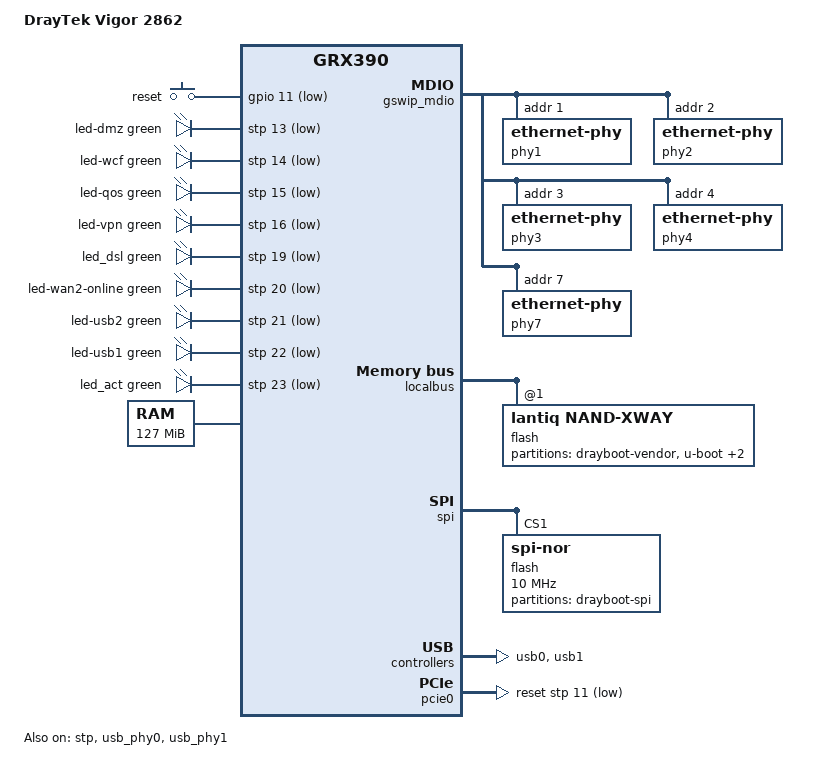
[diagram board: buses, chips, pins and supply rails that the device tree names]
// SPDX-License-Identifier: GPL-2.0-or-later OR MIT

#include "xrx330.dtsi"

#include <dt-bindings/input/input.h>
#include <dt-bindings/leds/common.h>

/ {
	compatible = "draytek,vigor2862", "lantiq,xway", "lantiq,grx390";
	model = "DrayTek Vigor 2862";

	chosen {
		bootargs = "console=ttyLTQ0,115200";
	};

	aliases {
		led-boot = &led_act;
		led-failsafe = &led_act;
		led-running = &led_act;
		led-upgrade = &led_act;
		led-dsl = &led_dsl;
	};

	keys {
		compatible = "gpio-keys-polled";
		poll-interval = <100>;

		reset {
			label = "reset";
			gpios = <&gpio 11 GPIO_ACTIVE_LOW>;
			linux,code = <KEY_RESTART>;
			debounce-interval = <60>;
		};
	};

	/* panel LEDs on the STP, active low */
	leds {
		compatible = "gpio-leds";

		led-dmz {
			function = "dmz";
			color = <LED_COLOR_ID_GREEN>;
			gpios = <&stp 13 GPIO_ACTIVE_LOW>;
		};

		led-wcf {
			function = "wcf";
			color = <LED_COLOR_ID_GREEN>;
			gpios = <&stp 14 GPIO_ACTIVE_LOW>;
		};

		led-qos {
			function = "qos";
			color = <LED_COLOR_ID_GREEN>;
			gpios = <&stp 15 GPIO_ACTIVE_LOW>;
		};

		led-vpn {
			function = "vpn";
			color = <LED_COLOR_ID_GREEN>;
			gpios = <&stp 16 GPIO_ACTIVE_LOW>;
		};

		led_dsl: led-dsl {
			function = "dsl";
			color = <LED_COLOR_ID_GREEN>;
			gpios = <&stp 19 GPIO_ACTIVE_LOW>;
		};

		led-wan2-online {
			function = LED_FUNCTION_WAN_ONLINE;
			function-enumerator = <2>;
			color = <LED_COLOR_ID_GREEN>;
			gpios = <&stp 20 GPIO_ACTIVE_LOW>;
		};

		led-usb2 {
			function = LED_FUNCTION_USB;
			function-enumerator = <2>;
			color = <LED_COLOR_ID_GREEN>;
			gpios = <&stp 21 GPIO_ACTIVE_LOW>;
			trigger-sources = <&usb1_port1>;
			linux,default-trigger = "usbport";
		};

		led-usb1 {
			function = LED_FUNCTION_USB;
			function-enumerator = <1>;
			color = <LED_COLOR_ID_GREEN>;
			gpios = <&stp 22 GPIO_ACTIVE_LOW>;
			trigger-sources = <&usb0_port1>;
			linux,default-trigger = "usbport";
		};

		led_act: led-act {
			function = LED_FUNCTION_STATUS;
			color = <LED_COLOR_ID_GREEN>;
			gpios = <&stp 23 GPIO_ACTIVE_LOW>;
		};
	};

	memory@0 {
		device_type = "memory";
		/*
		 * top 1 MiB is used by the vendor firmware and by U-Boot's copy
		 * of the GPHY firmware at 0x7fe0000, keep it untouched
		 */
		reg = <0x0 0x7f00000>;
	};
};

/*
 * U-Boot boots the GPHYs from its firmware copy at 0x7fe0000 (outside the
 * kernel's memory), so the switch driver must not reset them or load firmware.
 */
/delete-node/ &gphy_fw;

/*
 * Front panel LAN1-LAN4 = switch ports (MDIO) 1, 4, 2, 3; the GPHY LEDs follow the jacks.
 */
&gswip_mdio {
	phy1: ethernet-phy@1 {
		reg = <0x1>;

		leds {
			#address-cells = <1>;
			#size-cells = <0>;

			led@0 {
				reg = <0>;
				function = LED_FUNCTION_ACTIVITY;
				function-enumerator = <1>;
				color = <LED_COLOR_ID_GREEN>;
			};

			led@1 {
				reg = <1>;
				function = LED_FUNCTION_LAN;
				function-enumerator = <1>;
				color = <LED_COLOR_ID_GREEN>;
			};
		};
	};

	phy2: ethernet-phy@2 {
		reg = <0x2>;

		leds {
			#address-cells = <1>;
			#size-cells = <0>;

			led@0 {
				reg = <0>;
				function = LED_FUNCTION_ACTIVITY;
				function-enumerator = <3>;
				color = <LED_COLOR_ID_GREEN>;
			};

			led@1 {
				reg = <1>;
				function = LED_FUNCTION_LAN;
				function-enumerator = <3>;
				color = <LED_COLOR_ID_GREEN>;
			};
		};
	};

	phy3: ethernet-phy@3 {
		reg = <0x3>;

		leds {
			#address-cells = <1>;
			#size-cells = <0>;

			led@0 {
				reg = <0>;
				function = LED_FUNCTION_ACTIVITY;
				function-enumerator = <4>;
				color = <LED_COLOR_ID_GREEN>;
			};

			led@1 {
				reg = <1>;
				function = LED_FUNCTION_LAN;
				function-enumerator = <4>;
				color = <LED_COLOR_ID_GREEN>;
			};
		};
	};

	phy4: ethernet-phy@4 {
		reg = <0x4>;

		leds {
			#address-cells = <1>;
			#size-cells = <0>;

			led@0 {
				reg = <0>;
				function = LED_FUNCTION_ACTIVITY;
				function-enumerator = <2>;
				color = <LED_COLOR_ID_GREEN>;
			};

			led@1 {
				reg = <1>;
				function = LED_FUNCTION_LAN;
				function-enumerator = <2>;
				color = <LED_COLOR_ID_GREEN>;
			};
		};
	};

	/* AR8035, WAN2 */
	phy7: ethernet-phy@7 {
		reg = <0x7>;
	};
};

&gswip_ports {
	port@0 {
		reg = <0>;
		label = "wan";
		phy-mode = "rgmii-id";
		phy-handle = <&phy7>;
		nvmem-cells = <&macaddr_drayboot_3fff8 2>;
		nvmem-cell-names = "mac-address";
	};

	port@1 {
		reg = <1>;
		label = "lan1";
		phy-mode = "internal";
		phy-handle = <&phy1>;
	};

	port@2 {
		reg = <2>;
		label = "lan3";
		phy-mode = "internal";
		phy-handle = <&phy2>;
	};

	port@3 {
		reg = <3>;
		label = "lan4";
		phy-mode = "internal";
		phy-handle = <&phy3>;
	};

	port@4 {
		reg = <4>;
		label = "lan2";
		phy-mode = "internal";
		phy-handle = <&phy4>;
	};
};

&localbus {
	flash@1 {
		compatible = "lantiq,nand-xway";
		lantiq,cs = <1>;
		bank-width = <2>;
		reg = <1 0x0 0x2000000>;

		nand-use-soft-ecc-engine;

		partitions {
			compatible = "fixed-partitions";
			#address-cells = <1>;
			#size-cells = <1>;

			partition@0 {
				label = "drayboot-vendor";
				reg = <0x0 0x1380000>;
				read-only;
			};

			/* DrayBoot primary firmware slot, holds U-Boot */
			partition@1380000 {
				label = "u-boot";
				reg = <0x1380000 0x100000>;
				read-only;
			};

			partition@1480000 {
				label = "kernel";
				reg = <0x1480000 0x400000>;
			};

			/* ends at the DrayBoot backup slot, kept for recovery */
			partition@1880000 {
				label = "ubi";
				reg = <0x1880000 0x1b00000>;
			};
		};
	};
};

&eth0 {
	nvmem-cells = <&macaddr_drayboot_3fff8 0>;
	nvmem-cell-names = "mac-address";
};

/* pinmux and chip selects are left as DrayBoot set them up */
&spi {
	status = "okay";

	flash@1 {
		compatible = "jedec,spi-nor";
		reg = <1>;
		spi-max-frequency = <10000000>;

		partitions {
			compatible = "fixed-partitions";
			#address-cells = <1>;
			#size-cells = <1>;

			/* DrayBoot, its GPHY firmware and the board data */
			partition@0 {
				label = "drayboot-spi";
				reg = <0x0 0x40000>;
				read-only;

				nvmem-layout {
					compatible = "fixed-layout";
					#address-cells = <1>;
					#size-cells = <1>;

					macaddr_drayboot_3fff8: macaddr@3fff8 {
						compatible = "mac-base";
						reg = <0x3fff8 0x6>;
						#nvmem-cell-cells = <1>;
					};
				};
			};
		};
	};
};

/*
 * LAN LEDs (active high) are driven by the GPHYs. Each phyN field drives
 * one GPHY's activity/link pair: phy1 (GPHY0, LAN3) 2-3, phy2 (GPHY1, LAN2)
 * 5-6, phy3 (GPHY2, LAN1) 8-9, phy4 (GPHY3, LAN4) 17-18. Output 11 is the
 * VRX318 PCIe reset.
 */
&stp {
	status = "okay";
	lantiq,phy1 = <0x3>;
	lantiq,phy2 = <0x3>;
	lantiq,phy3 = <0x3>;
	lantiq,phy4 = <0x3>;
};

&usb0 {
	status = "okay";
};

&usb1 {
	status = "okay";
};

&usb_phy0 {
	status = "okay";
};

&usb_phy1 {
	status = "okay";
};

/* VRX318 DSL modem */
&pcie0 {
	status = "okay";
	reset-gpios = <&stp 11 GPIO_ACTIVE_LOW>;
};
